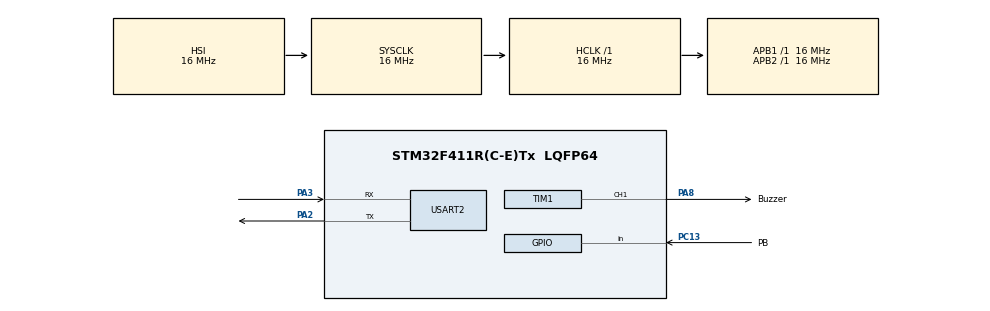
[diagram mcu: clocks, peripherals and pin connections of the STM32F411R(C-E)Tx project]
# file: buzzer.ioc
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Mcu.Family=STM32F4
Mcu.Name=STM32F411R(C-E)Tx
Mcu.Package=LQFP64
NVIC.PriorityGroup=NVIC_PRIORITYGROUP_4
NVIC.USART2_IRQn=true\:0\:0\:false\:false\:true\:true\:true\:true
PA2.Mode=Asynchronous
PA2.Signal=USART2_TX
PA3.Mode=Asynchronous
PA3.Signal=USART2_RX
PA8.GPIO_Label=Buzzer
PA8.Signal=S_TIM1_CH1
PC13-ANTI_TAMP.GPIO_Label=PB
PC13-ANTI_TAMP.Signal=GPIO_Input
ProjectManager.HeapSize=0x200
ProjectManager.StackSize=0x400
ProjectManager.TargetToolchain=STM32CubeIDE
RCC.AHBFreq_Value=16000000
RCC.APB1Freq_Value=16000000
RCC.APB2Freq_Value=16000000
RCC.CortexFreq_Value=16000000
RCC.HSE_VALUE=25000000
RCC.HSI_VALUE=16000000
RCC.LSE_VALUE=32768
RCC.SYSCLKFreq_VALUE=16000000
RCC.VCOOutputFreq_Value=192000000
SH.S_TIM1_CH1.0=TIM1_CH1,PWM Generation1 CH1
TIM1.Channel-PWM\ Generation1\ CH1=TIM_CHANNEL_1
TIM1.Period=1000-1
TIM1.Pulse-PWM\ Generation1\ CH1=500-1
USART2.VirtualMode=VM_ASYNC
VP_TIM1_VS_ClockSourceINT.Mode=Internal
board=custom

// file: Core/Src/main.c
/* USER CODE BEGIN Header */
/**
  ******************************************************************************
  * @file           : main.c
  * @brief          : Main program body
  ******************************************************************************
  * @attention
  *
  * Copyright (c) 2024 STMicroelectronics.
  * All rights reserved.
  *
  * This software is licensed under terms that can be found in the LICENSE file
  * in the root directory of this software component.
  * If no LICENSE file comes with this software, it is provided AS-IS.
  *
  ******************************************************************************
  */
/* USER CODE END Header */
#include "main.h"

TIM_HandleTypeDef htim1;

UART_HandleTypeDef huart2;

void SystemClock_Config(void);
static void MX_GPIO_Init(void);
static void MX_TIM1_Init(void);
static void MX_USART2_UART_Init(void);

/* USER CODE BEGIN 0 */
int soundLut[] = {
//		262, 294, 330, 349, 392, 440, 494, 523
		130, 146, 164, 174, 195, 220, 246, 262
};

void setSound(int freq){
	htim1.Instance->ARR = 1000000 / freq - 1;
	htim1.Instance->CCR1 = htim1.Instance->ARR / 2;
}

void stopSound(){
	htim1.Instance->CCR1=0;
}
/* USER CODE END 0 */

int main(void)
{

  /* MCU Configuration--------------------------------------------------------*/

  /* Reset of all peripherals, Initializes the Flash interface and the Systick. */
  HAL_Init();

  /* Configure the system clock */
  SystemClock_Config();

  /* Initialize all configured peripherals */
  MX_GPIO_Init();
  MX_TIM1_Init();
  MX_USART2_UART_Init();
  /* USER CODE BEGIN 2 */
  HAL_TIM_PWM_Start(&htim1, TIM_CHANNEL_1);
  initUart(&huart2);
  /* USER CODE END 2 */

  /* Infinite loop */
  /* USER CODE BEGIN WHILE */
  while (1)
  {
  	char ch;
  	ch = getChar();
  	switch(ch){
  		case 'c':
  			setSound(soundLut[0]);
  			break;
  		case 'd':
  			setSound(soundLut[1]);
  			break;
  		case 'e':
  			setSound(soundLut[2]);
  			break;
  		case 'f':
  			setSound(soundLut[3]);
  			break;
  		case 'g':
  			setSound(soundLut[4]);
  			break;
  		case 'a':
  			setSound(soundLut[5]);
  			break;
  		case 'b':
  			setSound(soundLut[6]);
  			break;
  		case 'C':
  			setSound(soundLut[7]);
  			break;
  		default:
  			stopSound();
  			break;

  	}
  	HAL_Delay(100);

    /* USER CODE END WHILE */

  }
}

void SystemClock_Config(void)
{
  RCC_OscInitTypeDef RCC_OscInitStruct = {0};
  RCC_ClkInitTypeDef RCC_ClkInitStruct = {0};

  /** Configure the main internal regulator output voltage
  */
  __HAL_RCC_PWR_CLK_ENABLE();
  __HAL_PWR_VOLTAGESCALING_CONFIG(PWR_REGULATOR_VOLTAGE_SCALE1);

  /** Initializes the RCC Oscillators according to the specified parameters
  * in the RCC_OscInitTypeDef structure.
  */
  RCC_OscInitStruct.OscillatorType = RCC_OSCILLATORTYPE_HSI;
  RCC_OscInitStruct.HSIState = RCC_HSI_ON;
  RCC_OscInitStruct.HSICalibrationValue = RCC_HSICALIBRATION_DEFAULT;
  RCC_OscInitStruct.PLL.PLLState = RCC_PLL_NONE;
  if (HAL_RCC_OscConfig(&RCC_OscInitStruct) != HAL_OK)
  {
    Error_Handler();
  }

  /** Initializes the CPU, AHB and APB buses clocks
  */
  RCC_ClkInitStruct.ClockType = RCC_CLOCKTYPE_HCLK|RCC_CLOCKTYPE_SYSCLK
                              |RCC_CLOCKTYPE_PCLK1|RCC_CLOCKTYPE_PCLK2;
  RCC_ClkInitStruct.SYSCLKSource = RCC_SYSCLKSOURCE_HSI;
  RCC_ClkInitStruct.AHBCLKDivider = RCC_SYSCLK_DIV1;
  RCC_ClkInitStruct.APB1CLKDivider = RCC_HCLK_DIV1;
  RCC_ClkInitStruct.APB2CLKDivider = RCC_HCLK_DIV1;

  if (HAL_RCC_ClockConfig(&RCC_ClkInitStruct, FLASH_LATENCY_0) != HAL_OK)
  {
    Error_Handler();
  }
}

static void MX_TIM1_Init(void)
{

  TIM_ClockConfigTypeDef sClockSourceConfig = {0};
  TIM_MasterConfigTypeDef sMasterConfig = {0};
  TIM_OC_InitTypeDef sConfigOC = {0};
  TIM_BreakDeadTimeConfigTypeDef sBreakDeadTimeConfig = {0};

  htim1.Instance = TIM1;
  htim1.Init.Prescaler = 0;
  htim1.Init.CounterMode = TIM_COUNTERMODE_UP;
  htim1.Init.Period = 1000-1;
  htim1.Init.ClockDivision = TIM_CLOCKDIVISION_DIV1;
  htim1.Init.RepetitionCounter = 0;
  htim1.Init.AutoReloadPreload = TIM_AUTORELOAD_PRELOAD_DISABLE;
  if (HAL_TIM_Base_Init(&htim1) != HAL_OK)
  {
    Error_Handler();
  }
  sClockSourceConfig.ClockSource = TIM_CLOCKSOURCE_INTERNAL;
  if (HAL_TIM_ConfigClockSource(&htim1, &sClockSourceConfig) != HAL_OK)
  {
    Error_Handler();
  }
  if (HAL_TIM_PWM_Init(&htim1) != HAL_OK)
  {
    Error_Handler();
  }
  sMasterConfig.MasterOutputTrigger = TIM_TRGO_RESET;
  sMasterConfig.MasterSlaveMode = TIM_MASTERSLAVEMODE_DISABLE;
  if (HAL_TIMEx_MasterConfigSynchronization(&htim1, &sMasterConfig) != HAL_OK)
  {
    Error_Handler();
  }
  sConfigOC.OCMode = TIM_OCMODE_PWM1;
  sConfigOC.Pulse = 500-1;
  sConfigOC.OCPolarity = TIM_OCPOLARITY_HIGH;
  sConfigOC.OCNPolarity = TIM_OCNPOLARITY_HIGH;
  sConfigOC.OCFastMode = TIM_OCFAST_DISABLE;
  sConfigOC.OCIdleState = TIM_OCIDLESTATE_RESET;
  sConfigOC.OCNIdleState = TIM_OCNIDLESTATE_RESET;
  if (HAL_TIM_PWM_ConfigChannel(&htim1, &sConfigOC, TIM_CHANNEL_1) != HAL_OK)
  {
    Error_Handler();
  }
  sBreakDeadTimeConfig.OffStateRunMode = TIM_OSSR_DISABLE;
  sBreakDeadTimeConfig.OffStateIDLEMode = TIM_OSSI_DISABLE;
  sBreakDeadTimeConfig.LockLevel = TIM_LOCKLEVEL_OFF;
  sBreakDeadTimeConfig.DeadTime = 0;
  sBreakDeadTimeConfig.BreakState = TIM_BREAK_DISABLE;
  sBreakDeadTimeConfig.BreakPolarity = TIM_BREAKPOLARITY_HIGH;
  sBreakDeadTimeConfig.AutomaticOutput = TIM_AUTOMATICOUTPUT_DISABLE;
  if (HAL_TIMEx_ConfigBreakDeadTime(&htim1, &sBreakDeadTimeConfig) != HAL_OK)
  {
    Error_Handler();
  }
  HAL_TIM_MspPostInit(&htim1);

}

static void MX_USART2_UART_Init(void)
{

  huart2.Instance = USART2;
  huart2.Init.BaudRate = 115200;
  huart2.Init.WordLength = UART_WORDLENGTH_8B;
  huart2.Init.StopBits = UART_STOPBITS_1;
  huart2.Init.Parity = UART_PARITY_NONE;
  huart2.Init.Mode = UART_MODE_TX_RX;
  huart2.Init.HwFlowCtl = UART_HWCONTROL_NONE;
  huart2.Init.OverSampling = UART_OVERSAMPLING_16;
  if (HAL_UART_Init(&huart2) != HAL_OK)
  {
    Error_Handler();
  }

}

static void MX_GPIO_Init(void)
{
  GPIO_InitTypeDef GPIO_InitStruct = {0};

  /* GPIO Ports Clock Enable */
  __HAL_RCC_GPIOC_CLK_ENABLE();
  __HAL_RCC_GPIOA_CLK_ENABLE();

  /*Configure GPIO pin : PB_Pin */
  GPIO_InitStruct.Pin = PB_Pin;
  GPIO_InitStruct.Mode = GPIO_MODE_INPUT;
  GPIO_InitStruct.Pull = GPIO_NOPULL;
  HAL_GPIO_Init(PB_GPIO_Port, &GPIO_InitStruct);

}

void Error_Handler(void)
{
  __disable_irq();
  while (1)
  {
  }
}
